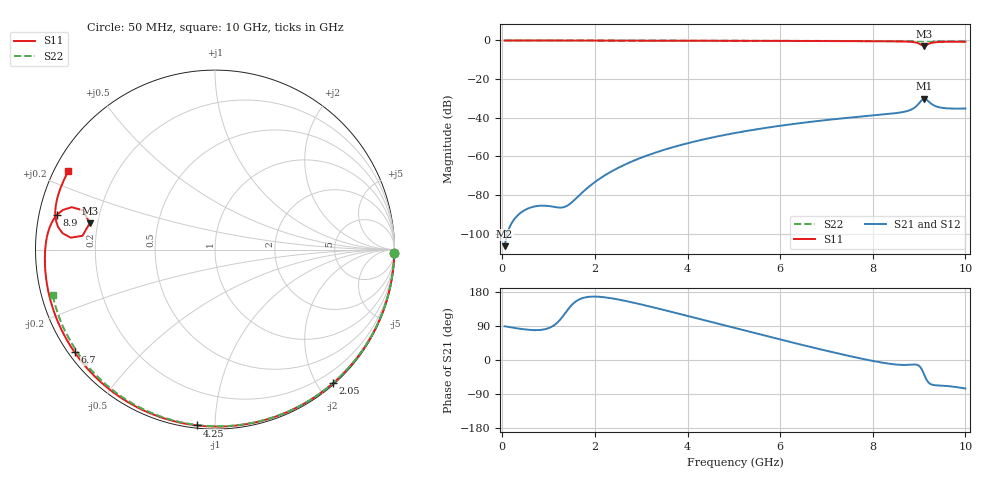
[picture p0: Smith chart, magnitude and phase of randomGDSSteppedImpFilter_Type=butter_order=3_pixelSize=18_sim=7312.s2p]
! freq	dB(S11)	phase(S11)	dB(S12)	phase(S12)
!  dB(S21)	phase(S21)	dB(S22)	phase(S22)
!S-par simulation data
#  GHz  S  DB  R 50
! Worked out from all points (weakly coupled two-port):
!   200 points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, 50 MHz to 10 GHz, reference 50 ohm
!   highest |S21| = -30.21 dB at 9.1 GHz (marker M1); lowest = -106.5 dB at 50 MHz (marker M2)
!   lowest |S11| = -2.9 dB at 9.1 GHz (marker M3), VSWR 5.98, Z = 8.45 + j5.06 ohm
!   |S11| at or under -10 dB: nowhere
!   |S22| runs from -0.5 to 0.0 dB; largest |S21 - S12| = 0
!   S11 on the Smith chart (normalised r, x): 50 MHz: 2, -98; 2.05 GHz: 0.02, -2.22; 4.25 GHz: 0.01, -0.90; 6.7 GHz: 0.02, -0.33; 8.9 GHz: 0.05, +0.11; 10 GHz: 0.04, +0.25
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0.05  -0.00 -1.2  -106.52 88.9  -106.52 88.9  -0.00 -0.9
0.8  -0.02 -19.3  -85.61 79.1  -85.61 79.1  -0.02 -15.2
1.65  -0.05 -39.4  -80.48 159.2  -80.48 159.2  -0.04 -31.0
1.75  -0.05 -41.7  -78.23 164.0  -78.23 164.0  -0.04 -32.9
2.05  -0.06 -48.6  -72.45 167.1  -72.45 167.1  -0.05 -38.4
2.65  -0.08 -62.0  -64.25 156.1  -64.25 156.1  -0.06 -49.1
3.4  -0.10 -78.3  -57.34 134.8  -57.34 134.8  -0.08 -62.3
4.25  -0.13 -95.9  -51.77 108.4  -51.77 108.4  -0.11 -76.6
5.05  -0.17 -111.9  -47.81 83.4  -47.81 83.4  -0.14 -89.6
5.85  -0.21 -127.5  -44.69 58.7  -44.69 58.7  -0.18 -102.1
6.7  -0.27 -143.8  -42.02 33.1  -42.02 33.1  -0.22 -115.1
7.55  -0.35 -160.4  -39.85 9.0  -39.85 9.0  -0.29 -127.8
8.35  -0.45 -177.1  -38.04 -9.7  -38.04 -9.7  -0.36 -139.6
8.7  -0.58 174.2  -36.82 -13.1  -36.82 -13.1  -0.40 -144.7
8.9  -0.91 167.5  -34.83 -11.8  -34.83 -11.8  -0.42 -147.7
9  -1.59 163.5  -32.53 -15.2  -32.53 -15.2  -0.43 -149.2
9.1  -2.93 168.1  -30.21 -35.6  -30.21 -35.6  -0.44 -150.6
9.15  -2.59 174.1  -30.48 -49.7  -30.48 -49.7  -0.44 -151.4
9.2  -1.86 175.3  -31.49 -59.1  -31.49 -59.1  -0.44 -152.1
9.35  -0.93 170.0  -33.97 -66.7  -33.97 -66.7  -0.46 -154.4
9.6  -0.69 162.1  -35.14 -68.5  -35.14 -68.5  -0.49 -158.2
10  -0.66 151.8  -35.23 -75.1  -35.23 -75.1  -0.54 -164.3
